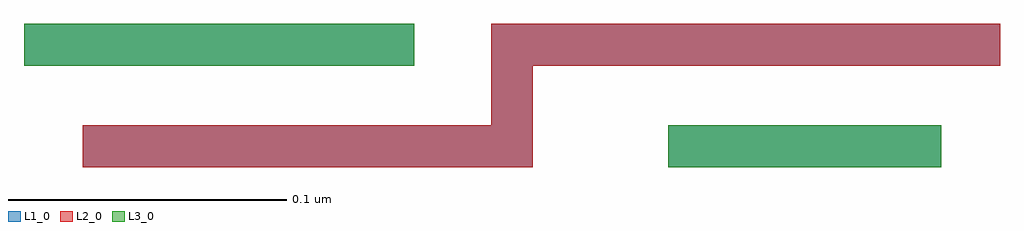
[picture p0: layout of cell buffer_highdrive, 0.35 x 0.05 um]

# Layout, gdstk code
import gdstk
lib = gdstk.Library(unit=1e-6, precision=5e-10)
def R(c, l, rs):  # rectangles x0, y0, x1, y1
    for r in rs: c.add(gdstk.rectangle(r[:2], r[2:], *l))
def P(c, l, *ps):  # polygons
    for p in ps: c.add(gdstk.Polygon(p, *l))
L1_0 = (1, 0)
L2_0 = (2, 0)
L3_0 = (3, 0)

invx4 = lib.new_cell('invx4')
R(invx4, L1_0, [(0.0755,0.0545,0.1735,0.0695), (0.0545,0.091,0.1945,0.106)])

buffer_highdrive = lib.new_cell('buffer_highdrive')
R(buffer_highdrive, L1_0, [(0.284,0.0575,0.291,0.064), (0.0735,0.096,0.08,0.101)])
P(buffer_highdrive, L1_0, [(0.259,0.1055),(0.259,0.0905),(0.2315,0.0905),(0.2315,0.054),(0.168,0.054),(0.168,0.069),(0.2165,0.069),(0.2165,0.1055)])
P(buffer_highdrive, L2_0, [(0.399,0.1055),(0.399,0.0905),(0.2315,0.0905),(0.2315,0.054),(0.07,0.054),(0.07,0.069),(0.2165,0.069),(0.2165,0.1055)])
R(buffer_highdrive, L3_0, [(0.28,0.054,0.378,0.069), (0.049,0.0905,0.189,0.1055)])
buffer_highdrive.add(gdstk.Reference(invx4, (-0.0055,-0.0005)))
buffer_highdrive.add(gdstk.Reference(invx4, (0.2045,-0.0005)))

lib.write_gds('buffer_highdrive.gds')
